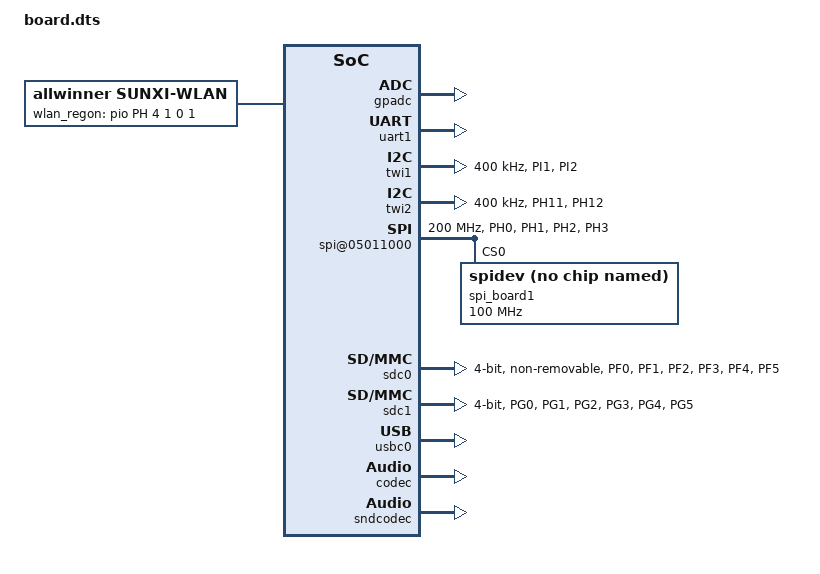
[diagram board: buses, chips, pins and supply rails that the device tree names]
/*
 * Allwinner Technology CO., Ltd. sun8iw19p1 soc board.
 *
 * soc board support.
 */

/dts-v1/;

#include "sun8iw19p1.dtsi"

/{
	dram: dram {
		dram_clk = <0x000001e0>;
		dram_type = <0x00000003>;
		dram_zq = <0x00003bfb>;
		dram_odt_en = <0x00000001>;
		dram_para1 = <0x004310f2>;
		dram_para2 = <0x02000000>;
		dram_mr0 = <0x00001c70>;
		dram_mr1 = <0x00000000>;
		dram_mr2 = <0x00000018>;
		dram_mr3 = <0x00000000>;
		dram_tpr0 = <0x0046190d>;
		dram_tpr1 = <0x0121210a>;
		dram_tpr2 = <0x0005403b>;
		dram_tpr3 = <0x00002006>;
		dram_tpr4 = <0x05040405>;
		dram_tpr5 = <0x05050302>;
		dram_tpr6 = <0x90006644>;
		dram_tpr7 = <0x42c21590>;
		dram_tpr8 = <0xd05612c0>;
		dram_tpr9 = <0x00083def>;
		dram_tpr10 = <0x00000000>;
		dram_tpr11 = <0x00210000>;
		dram_tpr12 = <0x00000055>;
		dram_tpr13 = <0x00006003>;
	};

	opp_dvfs_table:opp_dvfs_table {
		cluster_num = <1>;
		opp_table_count = <1>;

		cpu_opp_l_table0: opp_l_table0 {
			compatible = "allwinner,opp_l_table0";
			opp_count = <2>;
			opp-shared;

			opp00 {
				opp-hz = /bits/ 64 <600000000>;
				opp-microvolt = <900000>;
				axi-bus-divide-ratio = <3>;
				clock-latency-ns = <2000000>;
			};

			opp01 {
				opp-hz = /bits/ 64 <816000000>;
				opp-microvolt = <900000>;
				axi-bus-divide-ratio = <3>;
				clock-latency-ns = <2000000>;
			};
		};
	};
	soc@03000000 {
		pinctrl@0300b000 {

			twi0_pins_a: twi0@0 {
				allwinner,pins = "PI3", "PI4";
				allwinner,pname = "twi0_scl", "twi0_sda";
				allwinner,function = "twi0";
				allwinner,muxsel = <5>;
				allwinner,drive = <1>;
				allwinner,pull = <0>;
			};

			twi0_pins_b: twi0@1 {
				allwinner,pins = "PI3", "PI4";
				allwinner,function = "io_disabled";
				allwinner,muxsel = <7>;
				allwinner,drive = <1>;
				allwinner,pull = <0>;
			};

			twi1_pins_a: twi1@0 {
				allwinner,pins = "PI1", "PI2";
				allwinner,pname = "twi1_scl", "twi1_sda";
				allwinner,function = "twi1";
				allwinner,muxsel = <5>;
				allwinner,drive = <1>;
				allwinner,pull = <0>;
			};

			twi1_pins_b: twi1@1 {
				allwinner,pins = "PI1", "PI2";
				allwinner,function = "io_disabled";
				allwinner,muxsel = <7>;
				allwinner,drive = <1>;
				allwinner,pull = <0>;
			};

			twi2_pins_a: twi2@0 {
				allwinner,pins = "PH11", "PH12";
				allwinner,pname = "twi2_scl", "twi2_sda";
				allwinner,function = "twi2";
				allwinner,muxsel = <5>;
				allwinner,drive = <1>;
				allwinner,pull = <0>;
			};

			twi2_pins_b: twi2@1 {
				allwinner,pins = "PH11", "PH12";
				allwinner,function = "io_disabled";
				allwinner,muxsel = <7>;
				allwinner,drive = <1>;
				allwinner,pull = <0>;
			};

			spi0_pins_a: spi0@0 {
				allwinner,pins = "PC0", "PC2", "PC3",
						"PC5", "PC4";
				allwinner,pname = "spi0_sclk", "spi0_mosi",
						  "spi0_miso", "spi0_hold", "spi0_wp";
				allwinner,function = "spi0";
				allwinner,muxsel = <4>;
				allwinner,drive = <1>;
				allwinner,pull = <0>;
			};

			spi0_pins_b: spi0@1 {
				allwinner,pins = "PC1", "PC6";
				allwinner,pname = "spi0_cs0", "spi0_cs1";
				allwinner,function = "spi0";
				allwinner,muxsel = <4>;
				allwinner,drive = <1>;
				allwinner,pull = <1>; 	// only CS should be pulled up
			};

			spi0_pins_c: spi0@2 {
				allwinner,pins = "PC0", "PC1", "PC2", "PC3",
						"PC4", "PC5", "PC6";
				allwinner,function = "io_disabled";
				allwinner,muxsel = <7>;
				allwinner,drive = <1>;
				allwinner,pull = <0>;
			};

			spi1_pins_a: spi1@0 {
				allwinner,pins = "PH0", "PH1", "PH2";
				allwinner,pname = "spi1_sclk", "spi1_mosi",
						  "spi1_miso";
				allwinner,function = "spi1";
				allwinner,muxsel = <4>;
				allwinner,drive = <1>;
				allwinner,pull = <0>;
			};

			spi1_pins_b: spi1@1 {
				allwinner,pins = "PH3";
				allwinner,pname = "spi1_cs0";
				allwinner,function = "spi1";
				allwinner,muxsel = <4>;
				allwinner,drive = <1>;
				allwinner,pull = <1>; // only CS should be pulled up
			};

			spi1_pins_c: spi1@2 {
				allwinner,pins = "PH0", "PH1", "PH2", "PH3";
				allwinner,function = "io_disabled";
				allwinner,muxsel = <7>;
				allwinner,drive = <1>;
				allwinner,pull = <0>;
			};

			sdc0_pins_a: sdc0@0 {
				allwinner,pins = "PF0", "PF1", "PF2", "PF3",
						"PF4", "PF5";
				allwinner,function = "sdc0";
				allwinner,muxsel = <2>;
				allwinner,drive = <3>;
				allwinner,pull = <1>;
			};

			sdc0_pins_b: sdc0@1 {
				allwinner,pins = "PF0", "PF1", "PF2", "PF3",
						"PF4", "PF5";
				allwinner,function = "io_disabled";
				allwinner,muxsel = <7>;
				allwinner,drive = <1>;
				allwinner,pull = <0>;
			};

			sdc1_pins_a: sdc1@0 {
				allwinner,pins = "PG0", "PG1", "PG2", "PG3",
						"PG4", "PG5";
				allwinner,function = "sdc1";
				allwinner,muxsel = <2>;
				allwinner,drive = <3>;
				allwinner,pull = <1>;
			};

			owc0_pins_a: owc0@0 {
				allwinner,pins = "PH4";
				allwinner,pname = "owc0";
				allwinner,function = "owc0";
				allwinner,muxsel = <5>;
				allwinner,drive = <1>;
				allwinner,pull = <0>;
			};

			owc0_pins_b: owc0_sleep@0 {
				allwinner,pins = "PH4";
				allwinner,function = "io_disabled";
				allwinner,muxsel = <7>;
				allwinner,drive = <1>;
				allwinner,pull = <0>;
			};
			pwm0_pins_a: pwm0@0 {
				allwinner,pins = "PH0";
				allwinner,pname = "pwm0_positive";
				allwinner,function = "pwm0";
				allwinner,muxsel = <2>;
				allwinner,drive = <1>;
				allwinner,pull = <0>;
			};

			pwm0_pins_b: pwm0@1 {
				allwinner,pins = "PH0";
				allwinner,function = "io_disabled";
				allwinner,muxsel = <7>;
				allwinner,drive = <1>;
				allwinner,pull = <0>;
			};

			pwm1_pins_a: pwm1@0 {
				allwinner,pins = "PH1";
				allwinner,pname = "pwm1_positive";
				allwinner,function = "pwm1";
				allwinner,muxsel = <2>;
				allwinner,drive = <1>;
				allwinner,pull = <0>;
			};

			pwm1_pins_b: pwm1@1 {
				allwinner,pins = "PH1";
				allwinner,function = "io_disabled";
				allwinner,muxsel = <7>;
				allwinner,drive = <1>;
				allwinner,pull = <0>;
			};

			pwm2_pins_a: pwm2@0 {
				allwinner,pins = "PH2";
				allwinner,pname = "pwm2_positive";
				allwinner,function = "pwm2";
				allwinner,muxsel = <2>;
				allwinner,drive = <1>;
				allwinner,pull = <0>;
			};

			pwm2_pins_b: pwm2@1 {
				allwinner,pins = "PH2";
				allwinner,function = "io_disabled";
				allwinner,muxsel = <7>;
				allwinner,drive = <1>;
				allwinner,pull = <0>;
			};

			pwm3_pins_a: pwm3@0 {
				allwinner,pins = "PH3";
				allwinner,pname = "pwm3_positive";
				allwinner,function = "pwm3";
				allwinner,muxsel = <2>;
				allwinner,drive = <1>;
				allwinner,pull = <0>;
			};

			pwm3_pins_b: pwm3@1 {
				allwinner,pins = "PH3";
				allwinner,function = "io_disabled";
				allwinner,muxsel = <7>;
				allwinner,drive = <1>;
				allwinner,pull = <0>;
			};

			pwm4_pins_a: pwm4@0 {
				allwinner,pins = "PH4";
				allwinner,pname = "pwm4_positive";
				allwinner,function = "pwm4";
				allwinner,muxsel = <2>;
				allwinner,drive = <1>;
				allwinner,pull = <0>;
			};

			pwm4_pins_b: pwm4@1 {
				allwinner,pins = "PH4";
				allwinner,function = "io_disabled";
				allwinner,muxsel = <7>;
				allwinner,drive = <1>;
				allwinner,pull = <0>;
			};

			pwm6_pins_a: pwm6@0 {
				allwinner,pins = "PH6";
				allwinner,pname = "pwm6_positive";
				allwinner,function = "pwm6";
				allwinner,muxsel = <2>;
				allwinner,drive = <1>;
				allwinner,pull = <0>;
			};

			pwm6_pins_b: pwm6@1 {
				allwinner,pins = "PH6";
				allwinner,function = "io_disabled";
				allwinner,muxsel = <7>;
				allwinner,drive = <1>;
				allwinner,pull = <0>;
			};

			pwm7_pins_a: pwm7@0 {
				allwinner,pins = "PH7";
				allwinner,pname = "pwm7_positive";
				allwinner,function = "pwm7";
				allwinner,muxsel = <2>;
				allwinner,drive = <1>;
				allwinner,pull = <0>;
			};

			pwm7_pins_b: pwm7@1 {
				allwinner,pins = "PH7";
				allwinner,function = "io_disabled";
				allwinner,muxsel = <7>;
				allwinner,drive = <1>;
				allwinner,pull = <0>;
			};

			pwm8_pins_a: pwm8@0 {
				allwinner,pins = "PH8";
				allwinner,pname = "pwm8_positive";
				allwinner,function = "pwm8";
				allwinner,muxsel = <2>;
				allwinner,drive = <1>;
				allwinner,pull = <0>;
			};

			pwm8_pins_b: pwm8@1 {
				allwinner,pins = "PH8";
				allwinner,function = "io_disabled";
				allwinner,muxsel = <7>;
				allwinner,drive = <1>;
				allwinner,pull = <0>;
			};
			
			pwm9_pins_a: pwm9@0 {
				allwinner,pins = "PH9";
				allwinner,pname = "pwm9_positive";
				allwinner,function = "pwm9";
				allwinner,muxsel = <2>;
				allwinner,drive = <1>;
				allwinner,pull = <0>;
			};

			pwm9_pins_b: pwm9@1 {
				allwinner,pins = "PH9";
				allwinner,function = "io_disabled";
				allwinner,muxsel = <7>;
				allwinner,drive = <1>;
				allwinner,pull = <0>;
			};

			rgb8_pins_a: rgb8@0 {
				allwinner,pins = "PD1", "PD2", "PD3", "PD4", "PD5", "PD6",
						"PD7", "PD8", "PD18", "PD19", "PD20";
				allwinner,pname = "lcdd3", "lcdd4", "lcdd5", "lcdd6", "lcdd7",
						"lcdd10", "lcdd11", "lcdd12", "lcdclk", "lcdde",
							"lcdhsync";
				allwinner,function = "lcd0";
				allwinner,muxsel = <2>;
				allwinner,drive = <1>;
				allwinner,pull = <0>;
			};

			rgb8_pins_b: rgb8@1 {
				allwinner,pins = "PD1", "PD2","PD3","PD4","PD5","PD6",
						"PD7","PD8","PD18","PD19","PD20";
				allwinner,function = "io_disabled";
				allwinner,muxsel = <7>;
				allwinner,drive = <1>;
				allwinner,pull = <0>;
			};
		};

		gpadc:gpadc{
			channel_num = <1>;
			channel_select = <0x01>;
			channel_data_select = <0>;
			channel_compare_select = <0x01>;
			channel_cld_select = <0x01>;
			channel_chd_select = <0x01>;
			channel0_compare_lowdata = <1700000>;
			channel0_compare_higdata = <1200000>;
			key_cnt =  <2>;
			key0_vol = <0>;
			key0_val = <2>; /* KEY_1 */
			key1_vol = <160>;
			key1_val = <3>; /* KEY_2 */
			status = "okay";
		};

		uart1: uart@05000400 {
			compatible = "allwinner,sun8i-uart";
			device_type = "uart1";
			reg = <0x0 0x05000400 0x0 0x400>;
			interrupts = <GIC_SPI 50 IRQ_TYPE_LEVEL_HIGH>;
			clocks = <&clk_uart1>;
			pinctrl-names = "default", "sleep";
			pinctrl-0 = <&uart1_pins_a>;
			pinctrl-1 = <&uart1_pins_b>;
			uart1_port = <1>;
			uart1_type = <4>;
			status = "okay";
		};

		twi0: twi@0x05002000{
			pinctrl-0 = <&twi0_pins_a>;
			pinctrl-1 = <&twi0_pins_b>;
			twi_drv_used = <1>;
			status = "disable";
		};

		twi1: twi@0x05002400{
			pinctrl-0 = <&twi1_pins_a>;
			pinctrl-1 = <&twi1_pins_b>;
			clock-frequency = <400000>;
			status = "okay";
		};

		twi2: twi@0x05002800{
			pinctrl-0 = <&twi2_pins_a>;
			pinctrl-1 = <&twi2_pins_b>;
			clock-frequency = <400000>;
			status = "okay";
		};

		spi@05010000 {
			pinctrl-0 = <&spi0_pins_a &spi0_pins_b>;
			pinctrl-1 = <&spi0_pins_c>;
			status = "disable";
			spi_board0 {
				device_type = "spi_board0";
				compatible = "m25p80";
				spi-max-frequency = <0x5f5e100>;
				reg = <0x0>;
				spi-rx-bus-width = <0x1>;
				spi-tx-bus-width = <0x1>;
			};
		};

		spi@05011000 {
			#address-cells = <1>;
			#size-cells = <0>;
			reg = <0x0 0x05011000 0x0 0x1000>;
			interrupts = <GIC_SPI 55 IRQ_TYPE_LEVEL_HIGH>;
			clocks = <&clk_pll_periph0>, <&clk_spi1>;
			clock-frequency = <200000000>;
			pinctrl-names = "default", "sleep";
			pinctrl-0 = <&spi1_pins_a &spi1_pins_b>;
			pinctrl-1 = <&spi1_pins_c>;
			spi1_cs_number = <2>;
			spi1_cs_bitmap = <3>;
			status = "okay";
			spi_board1 {
				device_type = "spi_board1";
				compatible = "spidev";
				spi-max-frequency = <0x5f5e100>;
				reg = <0x0>;
				spi-rx-bus-width = <0x1>;
				spi-tx-bus-width = <0x1>;
			};
		};

		vind0:vind@0 {
			vind0_clk = <270000000>;
			vind0_isp = <200000000>;
			status = "okay";

			actuator0:actuator@0 {
				device_type = "actuator0";
				actuator0_name = "ad5820_act";
				actuator0_slave = <0x18>;
				actuator0_af_pwdn = <>;
				actuator0_afvdd = "afvcc-csi";
				actuator0_afvdd_vol = <2800000>;
				status = "disabled";
			};

			flash0:flash@0 {
				device_type = "flash0";
				flash0_type = <2>;
				flash0_en = <>;
				flash0_mode = <>;
				flash0_flvdd = "";
				flash0_flvdd_vol = <>;
				device_id = <0>;
				status = "disabled";
			};

			sensor0:sensor@0 {
				device_type = "sensor0";
				// sensor0_mname = "ov9732_mipi";
				sensor0_mname = "sp2305_mipi";
				sensor0_twi_cci_id = <1>;
				// sensor0_twi_addr = <0x6c>;
				sensor0_twi_addr = <0x78>;
				sensor0_mclk_id = <0>;
				sensor0_pos = "rear";
				sensor0_isp_used = <1>;
				sensor0_fmt = <1>;
				sensor0_stby_mode = <0>;
				sensor0_vflip = <0>;
				sensor0_hflip = <0>;
				sensor0_iovdd-supply = <>;
				sensor0_iovdd_vol = <1800000>;
				sensor0_avdd-supply = <>;
				sensor0_avdd_vol = <2800000>;
				sensor0_dvdd-supply = <>;
				sensor0_dvdd_vol = <1200000>;
				sensor0_power_en = <>;
				/* board error, we can not use the right config. */
				sensor0_reset = <&pio PE 16 1 0 1 0>;
				sensor0_pwdn = <&pio PE 17 1 0 1 0>;
				status	= "okay";
			};

			sensor1:sensor@1 {
				device_type = "sensor1";
				sensor1_mname = "ov5647";
				sensor1_twi_cci_id = <0>;
				sensor1_twi_addr = <0x6c>;
				sensor1_mclk_id = <1>;
				sensor1_pos = "front";
				sensor1_isp_used = <0>;
				sensor1_fmt = <0>;
				sensor1_stby_mode = <0>;
				sensor1_vflip = <0>;
				sensor1_hflip = <0>;
				sensor1_iovdd-supply = <>;
				sensor1_iovdd_vol = <2800000>;
				sensor1_avdd-supply = <>;
				sensor1_avdd_vol = <2800000>;
				sensor1_dvdd-supply = <>;
				sensor1_dvdd_vol = <1500000>;
				sensor1_power_en = <>;
				sensor1_reset = <&pio PI 3 1 0 1 0>;
				sensor1_pwdn = <&pio PI 4 1 0 1 0>;
				status	= "disabled";
			};

			vinc0:vinc@0 {
				vinc0_csi_sel = <0>;
				vinc0_mipi_sel = <0>;
				vinc0_isp_sel = <0>;
				vinc0_isp_tx_ch = <0>;
				vinc0_rear_sensor_sel = <0>;
				vinc0_front_sensor_sel = <0>;
				vinc0_sensor_list = <0>;
				status = "okay";
			};

			vinc1:vinc@1 {
				vinc1_csi_sel = <0>;
				vinc1_mipi_sel = <0>;
				vinc1_isp_sel = <0>;
				vinc1_isp_tx_ch = <0>;
				vinc1_rear_sensor_sel = <0>;
				vinc1_front_sensor_sel = <0>;
				vinc1_sensor_list = <0>;
				status = "okay";
			};

			vinc2:vinc@2 {
				vinc2_csi_sel = <0>;
				vinc2_mipi_sel = <0>;
				vinc2_isp_sel = <0>;
				vinc2_isp_tx_ch = <0>;
				vinc2_rear_sensor_sel = <0>;
				vinc2_front_sensor_sel = <0>;
				vinc2_sensor_list = <0>;
				status = "disabled";
			};

			vinc3:vinc@3 {
				vinc3_csi_sel = <1>;
				vinc3_mipi_sel = <0xff>;
				vinc3_isp_sel = <1>;
				vinc3_isp_tx_ch = <0>;
				vinc3_rear_sensor_sel = <1>;
				vinc3_front_sensor_sel = <1>;
				vinc3_sensor_list = <0>;
				status = "disabled";
			};
		};
		
		s_owc0: s_owc@07040400 {
			pinctrl-0 = <&owc0_pins_a>;
			pinctrl-1 = <&owc0_pins_b>;
			status = "okay";
		};

		sdc0: sdmmc@04020000 {
			pinctrl-0 = <&sdc0_pins_a>;
			bus-width = <4>;
			// cd-gpios = <&pio PF 6 0 1 3 0xffffffff>;
			non-removable;
			card-pwr-gpios;// = <&pio PC 4 1 1 2 0xffffffff>;
			sunxi-power-save-mode;
			sunxi-signal-vol-sw-without-pmu;
			sd-uhs-sdr50;
			sd-uhs-ddr50;
			sd-uhs-sdr104;
			/*sunxi-dis-signal-vol-sw;*/
			max-frequency = <150000000>;
			min-frequency = <100000>;
			cd-used-24M;
			no-sdio;
			/*broken-cd;*/
			ctl-spec-caps = <0x8>;
			status = "okay";
		};

		card0_boot_para {
			device_type = "card0_boot_para";
			card_ctrl = <0x0>;
			card_high_speed = <0x1>;
			card_line = <0x4>;
			time_pwroff_ms = <200>;
			pinctrl-1 = <&sdc0_pins_b>;
			card-pwr-gpios;// = <&pio PC 4 1 1 2 0xffffffff>;
			status = "okay";
		};

		sdc1: sdmmc@04021000 {
			pinctrl-0 = <&sdc1_pins_a>;
			bus-width = <4>;
			/*sunxi-power-save-mode;*/
			/*sd-uhs-sdr12*/
			/*sd-uhs-sdr25*/
			/*sd-uhs-sdr50*/
			/*sd-uhs-sdr104*/
			/*sunxi-dis-signal-vol-sw;*/
			cap-sdio-irq;
			keep-power-in-suspend;
			ignore-pm-notify;
			max-frequency = <50000000>;
			status = "okay";
		};

		usbc0:usbc0@0{
			usb_port_type = <0>;
			usb_detect_type = <0>;
			usb_detect_mode = <0>;
			usb_id_gpio;
			usb_det_vbus_gpio;
			usb_drv_vbus_gpio;
			usb_host_init_state = <0>;
			status = "okay";
		};

		disp: disp@01000000 {
			disp_init_enable		= <1>;
			disp_mode				= <0>;

			screen0_output_type		= <1>;
			screen0_output_mode		= <4>;

			disp_rotation_used 		= <1>;
			degree0					= <0>;
			fb0_format				= <8>;
			fb0_width				= <240>;
			fb0_height				= <320>;

			lcd0_backlight			= <50>;
			lcd0_bright				= <50>;
			lcd0_contrast			= <50>;
			lcd0_saturation			= <57>;
			lcd0_hue				= <50>;
		};

		lcd0: lcd0@01c0c000 {
			lcd_used            = <1>;

			lcd_size			= "1.3";
			lcd_model_name		= "inv";
			lcd_driver_name     = "st7789v_cpu";

			lcd_x               = <240>;
			lcd_y               = <240>;
			lcd_width           = <108>;
			lcd_height          = <64>;
			lcd_dclk_freq       = <10>;

			lcd_backlight       = <50>;

			lcd_pwm_used        = <0>;
			lcd_pwm_ch          = <1>;
			lcd_pwm_freq        = <50000>;
			lcd_pwm_pol         = <1>;
			lcd_pwm_max_limit   = <255>;

			lcd_hbp             = <60>;
			lcd_ht              = <298>;
			lcd_hspw            = <30>;
			lcd_vbp             = <250>;
			lcd_vt              = <265>;
			lcd_vspw            = <2>;

			lcd_if              = <1>;
			lcd_frm             = <2>;
			lcd_cpu_mode        = <1>;
			lcd_cpu_te          = <0>;
			lcd_cpu_if	        = <14>;

			lcd_io_phase        = <0x0000>;
			lcdgamma4iep        = <22>;
			lcd_gamma_en        = <0>;
			lcd_cmap_en         = <0>;
			lcd_bright_curve_en = <0>;
			lcd_rb_swap			= <0>;

			//lcd_gpio_0 = <&pio PH 5 1 0 3 0>; /* rst */
			//lcd_gpio_1 = <&pio PD 21 1 0 3 0>; /* cs */
			//lcd_bl_en = <&pio PD 21 1 0 3 1>;

			pinctrl-0 = <&rgb8_pins_a>;
			pinctrl-1 = <&rgb8_pins_b>;
		};

		daudio0:daudio@0x05090000 {
			mclk_div = <0x0>;
			frametype = <0x00>;
			tdm_config = <0x01>;
			sign_extend = <0x00>;
			tx_data_mode = <0x00>;
			rx_data_mode = <0x00>;
			msb_lsb_first = <0x00>;
			pcm_lrck_period = <0x80>;
			slot_width_select = <0x20>;
			status = "disabled";
		};

		daudio1:daudio@0x05091000 {
			mclk_div = <0x01>;
			frametype = <0x00>;
			tdm_config = <0x01>;
			sign_extend = <0x00>;
			tx_data_mode = <0x00>;
			rx_data_mode = <0x00>;
			msb_lsb_first = <0x00>;
			pcm_lrck_period = <0x80>;
			slot_width_select = <0x20>;
			status = "disabled";
		};

		codec:codec@0x05096000 {
			pa_level = <0x1>;
			main_gain = <0x17>;
			adcdrc_cfg = <0x00>;
			adchpf_cfg = <0x01>;
			dacdrc_cfg = <0x01>;
			dachpf_cfg = <0x00>;
			digital_vol = <0x00>;
			lineout_vol = <0x1f>;
			pa_msleep_time = <0xa0>;
			/* gpio-spk = <&pio PH 14 1 1 1 1>; */
			status = "okay";
		};

		sndcodec:sound@0 {
			status = "okay";
		};

		snddaudio0:sound@1 {
			audio_format = <0x01>;
			daudio_master = <0x04>;
			signal_inversion = <0x01>;
			status = "disabled";
		};

		snddaudio1:sound@2 {
			audio_format = <0x01>;
			daudio_master = <0x04>;
			signal_inversion = <0x01>;
			status = "disabled";
		};
	};

	wlan:wlan {
		compatible = "allwinner,sunxi-wlan";
		clocks = <&clk_losc_out>;
		wlan_busnum = <1>;
		wlan_usbnum = <3>;
		wakeup_source = <0>;

		/* wlan_power-supply = <&reg_dcdc1>; */
		/* io_regulator-supply = <&reg_dcdc5>; */

		/* wlan_power_vol = <3300000>; */
		/* io_regulator_vol = <3300000>; */

		/* wlan_en; */
		wlan_regon = <&pio PH 4 1 0 1 0>;
		/* wlan_hostwake = <&pio PG 7 0 0 1 0>; */
		wlan_hostwake;
		status = "okay";
	};
};

